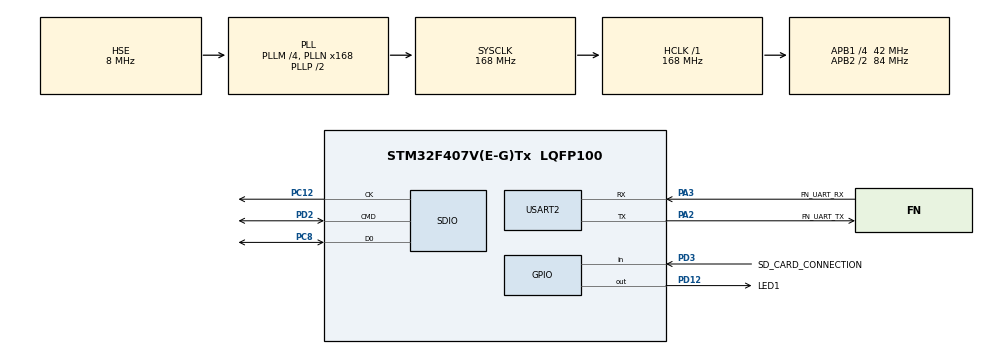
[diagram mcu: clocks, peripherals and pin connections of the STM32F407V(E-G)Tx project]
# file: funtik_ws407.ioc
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FATFS.BSP.number=1
FATFS._FS_TINY=0
FATFS0.BSP.STBoard=false
FATFS0.BSP.api=Unknown
FATFS0.BSP.instance=PD3
FATFS0.BSP.ip=GPIO
FATFS0.BSP.mode=Input
FATFS0.BSP.name=Detect_SDIO
FATFS0.BSP.solution=PD3
Mcu.Family=STM32F4
Mcu.Name=STM32F407V(E-G)Tx
Mcu.Package=LQFP100
NVIC.PriorityGroup=NVIC_PRIORITYGROUP_4
NVIC.USART2_IRQn=true\:0\:0\:false\:false\:true\:true\:true\:true
PA13.Mode=Serial_Wire
PA13.Signal=SYS_JTMS-SWDIO
PA14.Mode=Serial_Wire
PA14.Signal=SYS_JTCK-SWCLK
PA2.GPIO_Label=FN_UART_TX
PA2.GPIO_PuPd=GPIO_PULLUP
PA2.Mode=Asynchronous
PA2.Signal=USART2_TX
PA3.GPIO_Label=FN_UART_RX
PA3.GPIO_PuPd=GPIO_PULLUP
PA3.Mode=Asynchronous
PA3.Signal=USART2_RX
PC12.GPIO_PuPd=GPIO_PULLUP
PC12.Mode=SD_1_bit
PC12.Signal=SDIO_CK
PC14-OSC32_IN.Mode=LSE-External-Oscillator
PC14-OSC32_IN.Signal=RCC_OSC32_IN
PC15-OSC32_OUT.Mode=LSE-External-Oscillator
PC15-OSC32_OUT.Signal=RCC_OSC32_OUT
PC8.GPIO_PuPd=GPIO_PULLUP
PC8.Mode=SD_1_bit
PC8.Signal=SDIO_D0
PD12.GPIO_Label=LED1
PD12.Signal=GPIO_Output
PD2.GPIO_PuPd=GPIO_PULLUP
PD2.Mode=SD_1_bit
PD2.Signal=SDIO_CMD
PD3.GPIO_Label=SD_CARD_CONNECTION
PD3.GPIO_PuPd=GPIO_PULLUP
PD3.Signal=GPIO_Input
PH0-OSC_IN.Mode=HSE-External-Oscillator
PH0-OSC_IN.Signal=RCC_OSC_IN
PH1-OSC_OUT.Mode=HSE-External-Oscillator
PH1-OSC_OUT.Signal=RCC_OSC_OUT
ProjectManager.HeapSize=0x800
ProjectManager.StackSize=0x800
ProjectManager.TargetToolchain=Makefile
RCC.48MHZClocksFreq_Value=48000000
RCC.AHBFreq_Value=168000000
RCC.APB1CLKDivider=RCC_HCLK_DIV4
RCC.APB1Freq_Value=42000000
RCC.APB1TimFreq_Value=84000000
RCC.APB2CLKDivider=RCC_HCLK_DIV2
RCC.APB2Freq_Value=84000000
RCC.APB2TimFreq_Value=168000000
RCC.CortexFreq_Value=168000000
RCC.HCLKFreq_Value=168000000
RCC.HSE_VALUE=8000000
RCC.HSI_VALUE=16000000
RCC.PLLM=4
RCC.PLLN=168
RCC.PLLQ=7
RCC.PLLSourceVirtual=RCC_PLLSOURCE_HSE
RCC.RCC_RTC_Clock_Source=RCC_RTCCLKSOURCE_LSE
RCC.RCC_RTC_Clock_SourceVirtual=RCC_RTCCLKSOURCE_LSE
RCC.SYSCLKFreq_VALUE=168000000
RCC.SYSCLKSource=RCC_SYSCLKSOURCE_PLLCLK
RCC.VCOOutputFreq_Value=336000000
SDIO.ClockDiv=8
SDIO.HardwareFlowControl=SDIO_HARDWARE_FLOW_CONTROL_ENABLE
USART2.VirtualMode=VM_ASYNC
VP_FATFS_VS_SDIO.Mode=SDIO
VP_RTC_VS_RTC_Activate.Mode=RTC_Enabled
VP_RTC_VS_RTC_Calendar.Mode=RTC_Calendar
board=custom

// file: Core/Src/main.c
/* USER CODE BEGIN Header */
/**
  ******************************************************************************
  * @file           : main.c
  * @brief          : Main program body
  ******************************************************************************
  * @attention
  *
  * Copyright (c) 2025 STMicroelectronics.
  * All rights reserved.
  *
  * This software is licensed under terms that can be found in the LICENSE file
  * in the root directory of this software component.
  * If no LICENSE file comes with this software, it is provided AS-IS.
  *
  ******************************************************************************
  */
/* USER CODE END Header */
#include "main.h"
#include "fatfs.h"
#include "rtc.h"
#include "sdio.h"
#include "usart.h"
#include "gpio.h"

/* USER CODE BEGIN Includes */
#include "app/application.h"
#include "app/system/systime.h"
#include "app/utils/itimer.h"

#include "libs/SoftwareTimer/SoftTimers.h"
/* USER CODE END Includes */

/* USER CODE BEGIN PTD */
//>>---------------------- Log control
#define LOG_MODULE_NAME main
#define LOG_MODULE_LEVEL (3)
#include "log_libs.h"
//<<----------------------
/* USER CODE END PTD */

void SystemClock_Config(void);

int main(void)
{

  /* MCU Configuration--------------------------------------------------------*/

  /* Reset of all peripherals, Initializes the Flash interface and the Systick. */
  HAL_Init();

  /* Configure the system clock */
  SystemClock_Config();

  /* Initialize all configured peripherals */
  MX_GPIO_Init();
  MX_RTC_Init();
  MX_SDIO_SD_Init();
  MX_FATFS_Init();
  MX_USART2_UART_Init();
  /* USER CODE BEGIN 2 */
  systime_init();
  const stimer_init_ctx_t kInitCtx = {.enable_irq = app_timer_irq_enable,
                                      .disable_irq = app_timer_irq_disable};

  Timer_Init(&kInitCtx);

  LOG_INFO("SYSCLK = %lu", HAL_RCC_GetSysClockFreq());
  LOG_INFO("HCLK   = %lu", HAL_RCC_GetHCLKFreq());
  LOG_INFO("PCLK1  = %lu", HAL_RCC_GetPCLK1Freq());
  LOG_INFO("PCLK2  = %lu", HAL_RCC_GetPCLK2Freq());

  FRESULT res = f_mount(&SDFatFS, "", 1);

  if (res != FR_OK)
  {
      LOG_ERROR("Mount error: %d\r\n", res);
      while (1)
          ;
  }

  LOG_INFO("Mount error: %d\r\n", res);

  application();
  /* USER CODE END 2 */

  /* Infinite loop */
  while (1)
  {

  }
}

void SystemClock_Config(void)
{
  RCC_OscInitTypeDef RCC_OscInitStruct = {0};
  RCC_ClkInitTypeDef RCC_ClkInitStruct = {0};

  /** Configure the main internal regulator output voltage
  */
  __HAL_RCC_PWR_CLK_ENABLE();
  __HAL_PWR_VOLTAGESCALING_CONFIG(PWR_REGULATOR_VOLTAGE_SCALE1);

  /** Initializes the RCC Oscillators according to the specified parameters
  * in the RCC_OscInitTypeDef structure.
  */
  RCC_OscInitStruct.OscillatorType = RCC_OSCILLATORTYPE_HSE|RCC_OSCILLATORTYPE_LSE;
  RCC_OscInitStruct.HSEState = RCC_HSE_ON;
  RCC_OscInitStruct.LSEState = RCC_LSE_ON;
  RCC_OscInitStruct.PLL.PLLState = RCC_PLL_ON;
  RCC_OscInitStruct.PLL.PLLSource = RCC_PLLSOURCE_HSE;
  RCC_OscInitStruct.PLL.PLLM = 4;
  RCC_OscInitStruct.PLL.PLLN = 168;
  RCC_OscInitStruct.PLL.PLLP = RCC_PLLP_DIV2;
  RCC_OscInitStruct.PLL.PLLQ = 7;
  if (HAL_RCC_OscConfig(&RCC_OscInitStruct) != HAL_OK)
  {
    Error_Handler();
  }

  /** Initializes the CPU, AHB and APB buses clocks
  */
  RCC_ClkInitStruct.ClockType = RCC_CLOCKTYPE_HCLK|RCC_CLOCKTYPE_SYSCLK
                              |RCC_CLOCKTYPE_PCLK1|RCC_CLOCKTYPE_PCLK2;
  RCC_ClkInitStruct.SYSCLKSource = RCC_SYSCLKSOURCE_PLLCLK;
  RCC_ClkInitStruct.AHBCLKDivider = RCC_SYSCLK_DIV1;
  RCC_ClkInitStruct.APB1CLKDivider = RCC_HCLK_DIV4;
  RCC_ClkInitStruct.APB2CLKDivider = RCC_HCLK_DIV2;

  if (HAL_RCC_ClockConfig(&RCC_ClkInitStruct, FLASH_LATENCY_5) != HAL_OK)
  {
    Error_Handler();
  }
}

void Error_Handler(void)
{
  __disable_irq();
  while (1)
  {
  }
}
